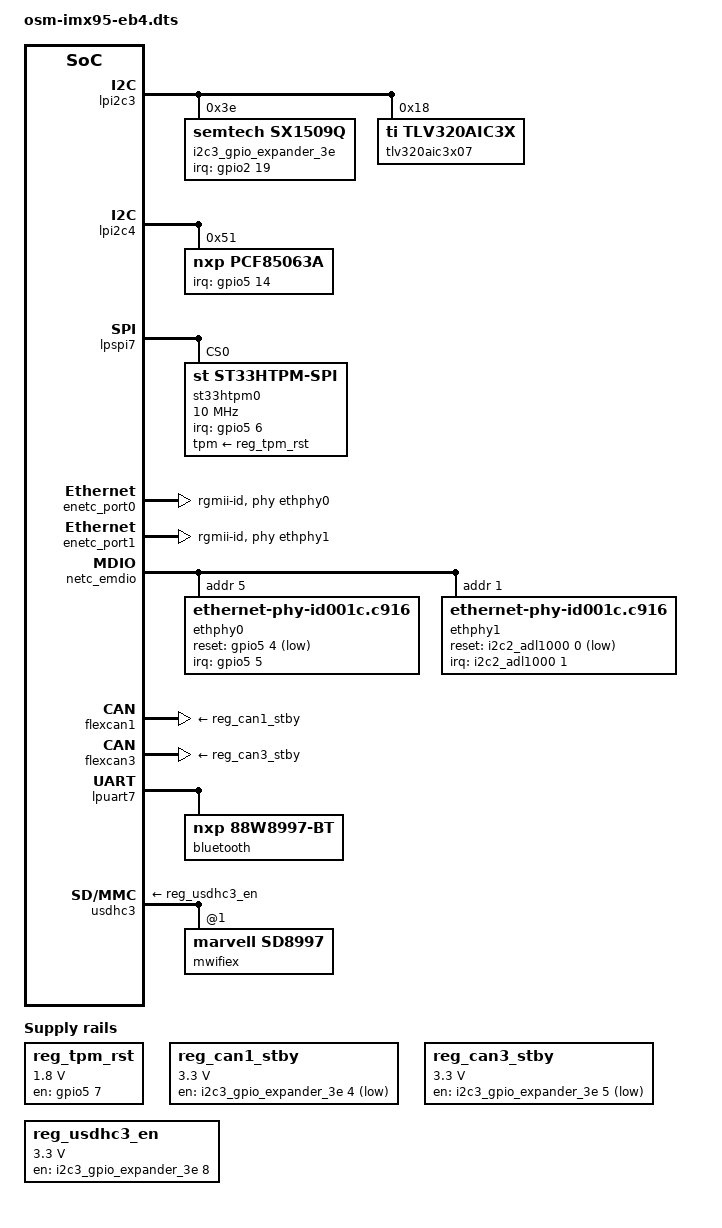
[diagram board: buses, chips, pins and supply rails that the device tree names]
// SPDX-License-Identifier: (GPL-2.0+ OR MIT)
/*
 * Copyright 2023 NXP
 */

#include "osm-imx95.dts"

/ {
	reg_tpm_rst: regulator-tmp {
		compatible = "regulator-fixed";
		regulator-name = "TPM_RST";
		regulator-min-microvolt = <1800000>;
		regulator-max-microvolt = <1800000>;
        //GPIO_B_1 , TPM_RSTB_N
		gpio =  <&gpio5 7 GPIO_ACTIVE_HIGH>;
		enable-active-high;
		regulator-always-on;
		startup-delay-us = <5000>;
	};

	reg_can1_stby: regulator-can1-stby {
		compatible = "regulator-fixed";
		regulator-name = "can1-stby";
		regulator-min-microvolt = <3300000>;
		regulator-max-microvolt = <3300000>;
		gpio = <&i2c3_gpio_expander_3e 4 GPIO_ACTIVE_HIGH>;
		enable-active-low;
		regulator-always-on;
	};    
	reg_can3_stby: regulator-can3-stby {
		compatible = "regulator-fixed";
		regulator-name = "can3-stby";
		regulator-min-microvolt = <3300000>;
		regulator-max-microvolt = <3300000>;
		gpio = <&i2c3_gpio_expander_3e 5 GPIO_ACTIVE_HIGH>;
		enable-active-low;
		regulator-always-on;
	};     

	reg_usdhc3_en: regulator-usdhc3-en {
		compatible = "regulator-fixed";
		regulator-name = "usdhc3-en";
		regulator-min-microvolt = <3300000>;
		regulator-max-microvolt = <3300000>;
		gpio = <&i2c3_gpio_expander_3e 8 GPIO_ACTIVE_HIGH>;
		enable-active-high;
        regulator-always-on;
	};
	//U1701
	sound-tlv320aic3x {
		compatible = "simple-audio-card";
		simple-audio-card,name = "tlv320aic3x";

		simple-audio-card,widgets =
			"Microphone", "Microphone Jack",
			"Headphone", "Headphone Jack";
		simple-audio-card,routing =
			"MIC3L", "Microphone Jack",
			"MIC3R", "Microphone Jack",
			"Headphone Jack", "HPLOUT",
			"Headphone Jack", "HPROUT";

		simple-audio-card,format = "i2s";
		simple-audio-card,bitclock-master = <&sound_master>;
		simple-audio-card,frame-master = <&sound_master>;

		simple-audio-card,cpu {
			sound-dai = <&sai3>;
		};

		sound_master: simple-audio-card,codec {
			sound-dai = <&tlv320aic3x07>;
		};
	};

};


//i2c_a
&lpi2c3 {
	/*U2901 SX1509BIULTRT_SEMTECH */
	i2c3_gpio_expander_3e: i2c3_gpio_expander_3e@3e {
		/* GPIO Expander  Mapping :
		 * - 0: HP_LOP_SEL			    =>			U1702 , 0:LOP 1:HP
		 * - 1: eDPA_HDMI_SEL			=>			        0:eDP , 1:HDMI			
		 * - 2: LVDS_DSI_SEL			=>			        0:DSI , 1:LVDS
		 * - 3: LT9611_RST_N_3V3	    =>			U2201
		 * - 4: CAN_A_STBY_3V3			=>			U1501   0:Wake , 1:Standby
		 * - 5: CAN_B_STBY_3V3			=> 			U1502   0:Wake , 1:Standby
		 * - 6: CODEC_RST#_3V3			=>			U1701   	
		 * - 7: E_GPIO0_3V3			    =>			CN2901 7
		 * - 8: RF_PD#			        => 			U1801
		 * - 9: E_GPIO1_3V3				=>          CN2901 11
		 * - 10: E_GPIO2_3V3			=>          CN2901 13
		 * - 11: E_GPIO3_3V3			=>          CN2901 15
		 * - 12: E_GPIO4_3V3		    =>          CN2901 12
		 * - 13: E_GPIO5_3V3			=>          CN2901 16
		 * - 14: E_GPIO6_3V3		    =>          CN2901 18
		 * - 15: E_GPIO7_3V3    		=>          CN2904 2
		 */
		#gpio-cells = <2>;
		#interrupt-cells = <2>;
		compatible = "semtech,sx1509q";
		reg = <0x3e>;

		semtech,probe-reset;
		gpio-controller;
		interrupt-controller;
        //GPIO_A_1 ,E_GPIO_INT#
		interrupt-parent = <&gpio2>;
		interrupts = <19 IRQ_TYPE_LEVEL_LOW>;
        //GPIO_A_0 ,E_GPIO_NRST# , not use in driver

		status = "okay";
	};

    //U1701
    tlv320aic3x07: tlv320aic310x@18 {
		clock-names = "mclk";
		clocks = <&scmi_clk IMX95_CLK_SAI3>;
		compatible = "ti,tlv320aic3x";
		#sound-dai-cells = <0>;
		reg = <0x18>;
		ai3x-micbias-vg = <2>; /* MICBIAS_2_5V */
        //CODEC_RST#_3V3
        //reset-gpios = <&i2c3_gpio_expander_3e 6 GPIO_ACTIVE_LOW>;
		status = "okay";
    };
};

//i2c_b
&lpi2c4 {

	//U1601 RTC PCF8563ATT/AJ_NXP
	pcf85063a: rtc@51 {
		compatible = "nxp,pcf85063a";
		pinctrl-names = "default";
		//pinctrl-0 = <&pinctrl_i2c3_rtc>;
		reg = <0x51>;
		#clock-cells = <0>;
        //GPIO_A_3 , RTC_INT_N
		interrupt-parent = <&gpio5>;
		interrupts = <14 IRQ_TYPE_LEVEL_LOW>;
	};
};

&lpspi7 {

    //U1603 with SPI_C Channel 0
    st33htpm0: st33htpm@0 {
        compatible = "st,st33htpm-spi";
        spi-max-frequency = <10000000>;
        reg = <0>;
        //GPIO_B_0 , TPM_IRQ_N
		interrupt-parent = <&gpio5>;
		interrupts = <6 IRQ_TYPE_LEVEL_LOW>;  
        
   		tpm-supply = <&reg_tpm_rst>;
		status = "okay";
    };
	/*
	//U1603 with SPI_C Channel 1
    st33htpm1: st33htpm@1{
        compatible = "st,st33htpm-spi";
        spi-max-frequency = <10000000>;
        reg = <1>;
        //GPIO_B_0 , TPM_IRQ_N
		interrupt-parent = <&gpio5>;
		interrupts = <6 IRQ_TYPE_LEVEL_LOW>;

		tpm-supply = <&reg_tpm_rst>;
		status = "okay";
    };
	*/
};


&reg_usb_vbus {
    //GPIO_A_2 , USB_HUB_RST#
    gpio = <&gpio2 13 GPIO_ACTIVE_HIGH>;
};
//ETH_A
&enetc_port0 {
	pinctrl-names = "default";
	pinctrl-0 = <&pinctrl_enetc0>;
	phy-handle = <&ethphy0>;
	phy-mode = "rgmii-id";
	status = "okay";
};

//ETH_B
&enetc_port1 {
	pinctrl-names = "default";
	pinctrl-0 = <&pinctrl_enetc1>;
	phy-handle = <&ethphy1>;
	phy-mode = "rgmii-id";
	status = "okay";
};

&netc_emdio {
	pinctrl-names = "default";
	pinctrl-0 = <&pinctrl_emdio>;
	status = "okay";

//addr 5 for EB4
	ethphy0: ethernet-phy@5 {
		reg = <5>;
		reset-assert-us = <10000>;
		reset-deassert-us = <80000>;
		realtek,clkout-disable;
		adlink,led = <0xc2bf 0x6d40>;
		compatible = "ethernet-phy-id001c.c916";//RTL8211

		//GPIO_A_4 , PHY_RSTB_A
		reset-gpios = <&gpio5 4 GPIO_ACTIVE_LOW>;
		//GPIO_A_5 , PHY_INTB_A
		interrupt-parent = <&gpio5>;
		interrupts = <5 IRQ_TYPE_EDGE_FALLING>;
	};

//addr 1 for EB4
	ethphy1: ethernet-phy@1 {
		reg = <1>;
		reset-assert-us = <10000>;
		reset-deassert-us = <80000>;
		realtek,clkout-disable;
		adlink,led = <0xc2bf 0x6d40>;
		compatible = "ethernet-phy-id001c.c916";//RTL8211

		//GPIO_B_2 , PHY_RSTB_B
		reset-gpios = <&i2c2_adl1000 0 GPIO_ACTIVE_LOW>;
		//GPIO_B_3 , PHY_INTB_B
		interrupt-parent = <&i2c2_adl1000>;
		interrupts = <1 IRQ_TYPE_EDGE_FALLING>;
	};
};

&flexcan1 {
	xceiver-supply = <&reg_can1_stby>;
};
&flexcan3 {
	xceiver-supply = <&reg_can3_stby>;
};

&lpuart7 {

	//EB4
	bluetooth {
		compatible = "nxp,88w8997-bt";
	};
};

&usdhc3 {

	vmmc-supply = <&reg_usdhc3_en>;

	mwifiex: wifi@1 {
		compatible = "marvell,sd8997";
		reg = <1>;

		marvell,caldata_00_txpwrlimit_2g_cfg_set = /bits/ 8 <
			 0x01 0x00 0x06 0x00 0x08 0x02 0x89 0x01>;
		marvell,wakeup-pin = <14>;
	};
};



